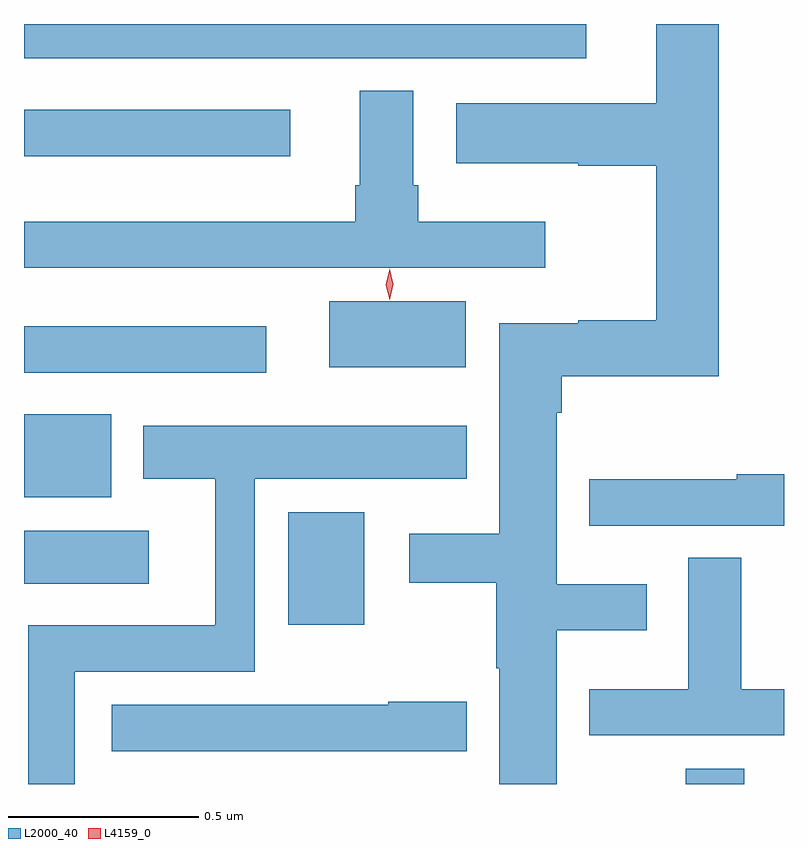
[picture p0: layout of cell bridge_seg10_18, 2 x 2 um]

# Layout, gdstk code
import gdstk
lib = gdstk.Library(unit=1e-6, precision=1e-09)
def R(c, l, rs):  # rectangles x0, y0, x1, y1
    for r in rs: c.add(gdstk.rectangle(r[:2], r[2:], *l))
def P(c, l, *ps):  # polygons
    for p in ps: c.add(gdstk.Polygon(p, *l))
L2000_40 = (2000, 40)
L4159_0 = (4159, 0)

bridge_seg10_18 = lib.new_cell('bridge_seg10_18')
R(bridge_seg10_18, L2000_40, [(1052.173,1324.26,1052.328,1324.3), (1051.127,1324.679,1051.327,1324.975), (1050.432,1324.787,1050.76,1324.927), (1050.432,1325.015,1050.661,1325.233), (1050.432,1325.342,1051.069,1325.464), (1051.235,1325.357,1051.594,1325.53), (1050.432,1325.912,1051.132,1326.034), (1050.432,1326.17,1051.912,1326.26)])
P(bridge_seg10_18, L2000_40, [(1051.834,1324.664),(1052.071,1324.664),(1052.071,1324.786),(1051.834,1324.786),(1051.834,1325.237),(1051.847,1325.237),(1051.847,1325.333),(1052.26,1325.333),(1052.26,1326.26),(1052.096,1326.26),(1052.096,1326.052),(1051.569,1326.052),(1051.569,1325.894),(1051.891,1325.894),(1051.891,1325.887),(1052.096,1325.887),(1052.096,1325.481),(1051.891,1325.481),(1051.891,1325.473),(1051.682,1325.473),(1051.682,1324.918),(1051.446,1324.918),(1051.446,1324.789),(1051.675,1324.789),(1051.675,1324.564),(1051.682,1324.564),(1051.682,1324.26),(1051.834,1324.26)],
  [(1051.804,1325.74),(1051.469,1325.74),(1051.469,1325.836),(1051.456,1325.836),(1051.456,1326.085),(1051.316,1326.085),(1051.316,1325.836),(1051.304,1325.836),(1051.304,1325.74),(1050.432,1325.74),(1050.432,1325.618),(1051.804,1325.618)],
  [(1050.565,1324.556),(1051.039,1324.556),(1051.039,1325.063),(1051.597,1325.063),(1051.597,1325.203),(1050.746,1325.203),(1050.746,1325.063),(1050.935,1325.063),(1050.935,1324.678),(1050.443,1324.678),(1050.443,1324.26),(1050.565,1324.26)],
  [(1052.432,1325.075),(1052.308,1325.075),(1052.308,1325.062),(1051.919,1325.062),(1051.919,1324.94),(1052.432,1324.94)],
  [(1052.432,1324.51),(1052.32,1324.51),(1052.32,1324.855),(1052.18,1324.855),(1052.18,1324.51),(1051.919,1324.51),(1051.919,1324.388),(1052.432,1324.388)],
  [(1051.597,1324.476),(1051.39,1324.476),(1051.39,1324.468),(1050.663,1324.468),(1050.663,1324.346),(1051.597,1324.346)])
P(bridge_seg10_18, L4159_0, [(1051.394,1325.534),(1051.394,1325.534),(1051.384,1325.574),(1051.394,1325.615),(1051.394,1325.616),(1051.394,1325.615),(1051.404,1325.575),(1051.394,1325.534)])

lib.write_gds('bridge_seg10_18.gds')
